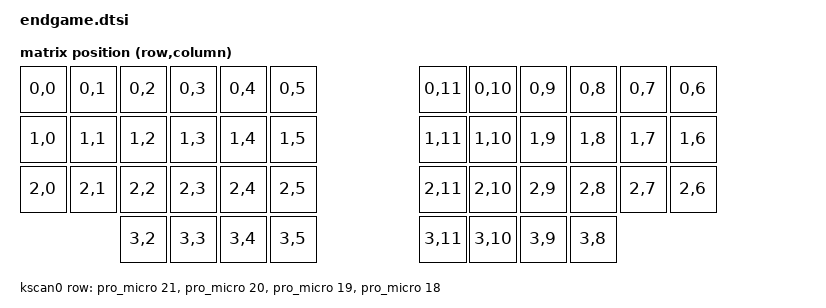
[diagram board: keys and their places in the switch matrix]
/*
 * Endgame Split — shared devicetree
 * 44-key low-profile Choc split (6 columns × 4 rows per half).
 *
 * Matrix (verified from the endgame_left_v7 PCB):
 *   Columns COL0..COL5 = outer, pinky, ring, middle, index, inner
 *   Rows    ROW0..ROW3 = top, home, bottom, thumb
 *   Thumbs (ROW3): thumb_inner=COL2, thumb_near=COL3, thumb_mid=COL4, thumb_far=COL5
 *   (columns 0 and 1 are empty on row 3)
 *
 * Diode wiring: COL -> switch -> diode -> ROW  => diode-direction = "col2row"
 * (columns are the driven outputs, rows are the read inputs)
 *
 * nice!nano pro_micro pins (per the footprint silkscreen):
 *   COL0..COL5 = pro_micro 4,5,6,7,8,9   (P0.xx mapping handled by the board)
 *   ROW0..ROW3 = pro_micro 21,20,19,18
 */

#include <dt-bindings/zmk/matrix_transform.h>
#include <physical_layouts.dtsi>

/ {
	chosen {
		zmk,kscan = &kscan0;
		zmk,physical-layout = &physical_layout0;
	};

	default_transform: keymap_transform_0 {
		compatible = "zmk,matrix-transform";
		columns = <12>;
		rows = <4>;

		/* Left half columns 0-5, right half columns 6-11.
		 * Key order in the keymap: rows top to bottom,
		 * left outer-to-inner | right inner-to-outer.
		 *
		 * Thumbs: left inner,near,mid,far | right far,mid,near,inner
		 */
		map = <
RC(0,0) RC(0,1) RC(0,2) RC(0,3) RC(0,4) RC(0,5)   RC(0,11) RC(0,10) RC(0,9) RC(0,8) RC(0,7) RC(0,6)
RC(1,0) RC(1,1) RC(1,2) RC(1,3) RC(1,4) RC(1,5)   RC(1,11) RC(1,10) RC(1,9) RC(1,8) RC(1,7) RC(1,6)
RC(2,0) RC(2,1) RC(2,2) RC(2,3) RC(2,4) RC(2,5)   RC(2,11) RC(2,10) RC(2,9) RC(2,8) RC(2,7) RC(2,6)
                RC(3,2) RC(3,3) RC(3,4) RC(3,5)   RC(3,11) RC(3,10) RC(3,9) RC(3,8)
		>;
	};

	/*
	 * Physical layout — required for ZMK Studio.
	 * Key order matches the matrix_transform map and the keymap
	 * (44 keys): row by row, top to bottom, left half first then right;
	 * thumbs last. Unit = 1/100 of a key. Left half x=0..5, right x=8..13.
	 */
	physical_layout0: physical_layout_0 {
		compatible = "zmk,physical-layout";
		display-name = "Endgame Split";
		transform = <&default_transform>;
		kscan = <&kscan0>;

		keys  //                     w   h    x    y   rot  rx  ry
			= <&key_physical_attrs 100 100    0    0     0   0   0>
			, <&key_physical_attrs 100 100  100    0     0   0   0>
			, <&key_physical_attrs 100 100  200    0     0   0   0>
			, <&key_physical_attrs 100 100  300    0     0   0   0>
			, <&key_physical_attrs 100 100  400    0     0   0   0>
			, <&key_physical_attrs 100 100  500    0     0   0   0>
			, <&key_physical_attrs 100 100  800    0     0   0   0>
			, <&key_physical_attrs 100 100  900    0     0   0   0>
			, <&key_physical_attrs 100 100 1000    0     0   0   0>
			, <&key_physical_attrs 100 100 1100    0     0   0   0>
			, <&key_physical_attrs 100 100 1200    0     0   0   0>
			, <&key_physical_attrs 100 100 1300    0     0   0   0>
			, <&key_physical_attrs 100 100    0  100     0   0   0>
			, <&key_physical_attrs 100 100  100  100     0   0   0>
			, <&key_physical_attrs 100 100  200  100     0   0   0>
			, <&key_physical_attrs 100 100  300  100     0   0   0>
			, <&key_physical_attrs 100 100  400  100     0   0   0>
			, <&key_physical_attrs 100 100  500  100     0   0   0>
			, <&key_physical_attrs 100 100  800  100     0   0   0>
			, <&key_physical_attrs 100 100  900  100     0   0   0>
			, <&key_physical_attrs 100 100 1000  100     0   0   0>
			, <&key_physical_attrs 100 100 1100  100     0   0   0>
			, <&key_physical_attrs 100 100 1200  100     0   0   0>
			, <&key_physical_attrs 100 100 1300  100     0   0   0>
			, <&key_physical_attrs 100 100    0  200     0   0   0>
			, <&key_physical_attrs 100 100  100  200     0   0   0>
			, <&key_physical_attrs 100 100  200  200     0   0   0>
			, <&key_physical_attrs 100 100  300  200     0   0   0>
			, <&key_physical_attrs 100 100  400  200     0   0   0>
			, <&key_physical_attrs 100 100  500  200     0   0   0>
			, <&key_physical_attrs 100 100  800  200     0   0   0>
			, <&key_physical_attrs 100 100  900  200     0   0   0>
			, <&key_physical_attrs 100 100 1000  200     0   0   0>
			, <&key_physical_attrs 100 100 1100  200     0   0   0>
			, <&key_physical_attrs 100 100 1200  200     0   0   0>
			, <&key_physical_attrs 100 100 1300  200     0   0   0>
			, <&key_physical_attrs 100 100  200  300     0   0   0>
			, <&key_physical_attrs 100 100  300  300     0   0   0>
			, <&key_physical_attrs 100 100  400  300     0   0   0>
			, <&key_physical_attrs 100 100  500  300     0   0   0>
			, <&key_physical_attrs 100 100  800  300     0   0   0>
			, <&key_physical_attrs 100 100  900  300     0   0   0>
			, <&key_physical_attrs 100 100 1000  300     0   0   0>
			, <&key_physical_attrs 100 100 1100  300     0   0   0>
			;
	};

	kscan0: kscan {
		compatible = "zmk,kscan-gpio-matrix";
		diode-direction = "col2row";
		wakeup-source;

		row-gpios
			= <&pro_micro 21 (GPIO_ACTIVE_HIGH | GPIO_PULL_DOWN)>   /* ROW0 top    */
			, <&pro_micro 20 (GPIO_ACTIVE_HIGH | GPIO_PULL_DOWN)>   /* ROW1 home   */
			, <&pro_micro 19 (GPIO_ACTIVE_HIGH | GPIO_PULL_DOWN)>   /* ROW2 bottom */
			, <&pro_micro 18 (GPIO_ACTIVE_HIGH | GPIO_PULL_DOWN)>   /* ROW3 thumb  */
			;
	};
};
